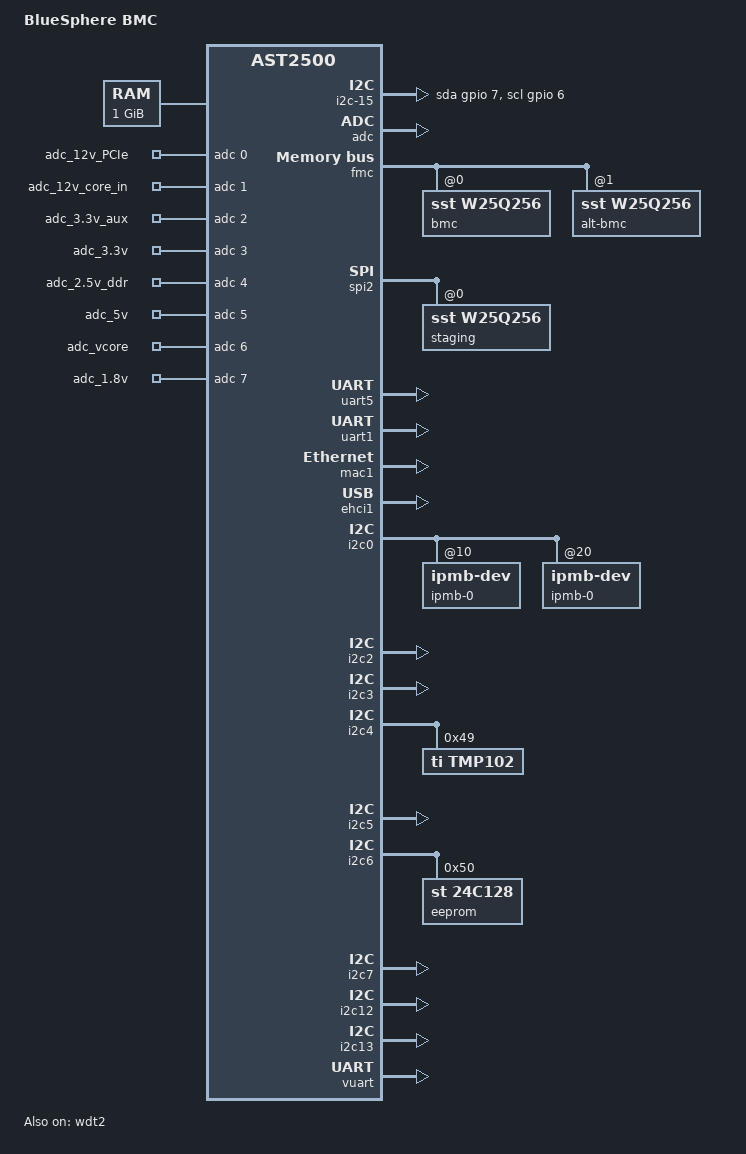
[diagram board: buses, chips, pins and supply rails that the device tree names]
// SPDX-License-Identifier: GPL-2.0+
/dts-v1/;

#include <dt-bindings/gpio/aspeed-gpio.h>
#include "aspeed-g5.dtsi"

/ {
	model = "BlueSphere BMC";
	compatible = "nvidia,nvidia-bmc", "aspeed,ast2500";

	aliases {
		serial0 = &uart1;
		serial4 = &uart5;
        };

	memory@80000000 {
		device_type = "memory";
		reg = <0x80000000 0x40000000>;	/* 1GiB SDRAM DDR4 @ 0x8000_0000 */
	};
	
	i2c-15 {
		compatible = "i2c-gpio";
		sda-gpios = <&gpio 7 (GPIO_ACTIVE_HIGH|GPIO_OPEN_DRAIN)>;
		scl-gpios = <&gpio 6 (GPIO_ACTIVE_HIGH|GPIO_OPEN_DRAIN)>;
		i2c-gpio,delay-us = <2>;	/* ~100 kHz */
		#address-cells = <1>;
		#size-cells = <0>;
	};

	iio-hwmon {
		compatible = "iio-hwmon";
		io-channels = <&adc 0>, <&adc 1>, <&adc 2>, <&adc 3>,
						<&adc 4>, <&adc 5>, <&adc 6>, <&adc 7>,
						<&adc 8>, <&adc 9>, <&adc 10>, <&adc 11>,
						<&adc 12>;
		io-channel-names = "adc_12v_PCIe", "adc_12v_core_in", "adc_3.3v_aux", "adc_3.3v",
							"adc_2.5v_ddr", "adc_5v", "adc_vcore", "adc_1.8v",
							"adc_1.2v_ddr", "adc_1.2v", "adc_1.2v_bmc_ddr", "adc_1.15v_bmc",
							"adc_0.6v_vit";
	};
};

&adc {
	status = "okay";
	pinctrl-names = "default";
	pinctrl-0 = <&pinctrl_adc0_default
			&pinctrl_adc1_default
			&pinctrl_adc2_default
			&pinctrl_adc3_default
			&pinctrl_adc4_default
			&pinctrl_adc5_default
			&pinctrl_adc6_default
			&pinctrl_adc7_default
			&pinctrl_adc8_default
			&pinctrl_adc9_default
			&pinctrl_adc10_default
			&pinctrl_adc11_default
			&pinctrl_adc12_default
			&pinctrl_adc13_default
			&pinctrl_adc14_default
			&pinctrl_adc15_default>;
};

&fmc {
	status = "okay";
	flash@0 {
		status = "okay";
		label = "bmc";
                compatible = "sst,w25q256", "jedec,spi-nor";
#include "aspeed-bmc-nvidia-secureboot-flash-layout-64.dtsi"
	};
	flash@1 {
		status = "okay";
		label = "alt-bmc";
                compatible = "sst,w25q256", "jedec,spi-nor";
#include "aspeed-bmc-nvidia-secureboot-alt-flash-layout-64.dtsi"
	};
};

&spi2 {
	status = "okay";
	pinctrl-names = "default";
	pinctrl-0 = <&pinctrl_spi2ck_default
		     &pinctrl_spi2cs0_default
		     &pinctrl_spi2cs1_default
		     &pinctrl_spi2miso_default
		     &pinctrl_spi2mosi_default>;
	flash@0 {
		status = "okay";
		label = "staging";
		compatible = "sst,w25q256", "jedec,spi-nor";
#include "aspeed-bmc-nvidia-config-flash-layout-64.dtsi"
	};
};

&uart5 {
	status = "okay";
};

&uart1 {
	status = "okay";
};

&mac1 {
	status = "okay";
	pinctrl-names = "default";
	pinctrl-0 = <&pinctrl_rgmii2_default>;
};

&ehci1 {
	status = "okay";
};

&pinctrl {
	pinctrl-names = "default";
	pinctrl-0 = <&pinctrl_ncts1_default
		&pinctrl_ndcd1_default
		&pinctrl_ndsr1_default
		&pinctrl_nri1_default
		&pinctrl_ndtr1_default
		&pinctrl_nrts1_default
		&pinctrl_txd1_default
		&pinctrl_rxd1_default>;
};

&i2c0 {
	status = "okay";
	multi-master;
	// BF to BMC
	ipmb-0@10 {
		compatible = "ipmb-dev";
		// TODO: replace with 0x40000000 with I2C_OWN_SLAVE_ADDRESS
		reg = <(0x10 | 0x40000000)>;
		i2c-protocol;
	};
	// BMC to BF
	ipmb-0@20 {
		compatible = "ipmb-dev";
		// TODO: replace with 0x40000000 with I2C_OWN_SLAVE_ADDRESS
		reg = <(0x20 | 0x40000000)>;
		i2c-protocol;
	};
};

&i2c2 {
	status = "okay";
};

&i2c3 {
	status = "okay";
};

&i2c4 {
	status = "okay";

	tmp102@49 {
		compatible = "ti,tmp102";
		reg = <0x49>;
	};
};

&i2c5 { 
	status = "okay";
};

&i2c6 {
	status = "okay";

	eeprom@50 {
		compatible = "st,24c128", "atmel,24c128";
		reg = <0x50>;
		pagesize = <64>;
	};
};

&i2c7 {
	status = "okay";
};

&i2c9 {
	status = "disabled";
};

&i2c12 {
	status = "okay";
};

&i2c13 {
	status = "okay";
};

&vuart {
	status = "okay";
};

&wdt2 {
	status = "okay";
	aspeed,alt-boot;
};
